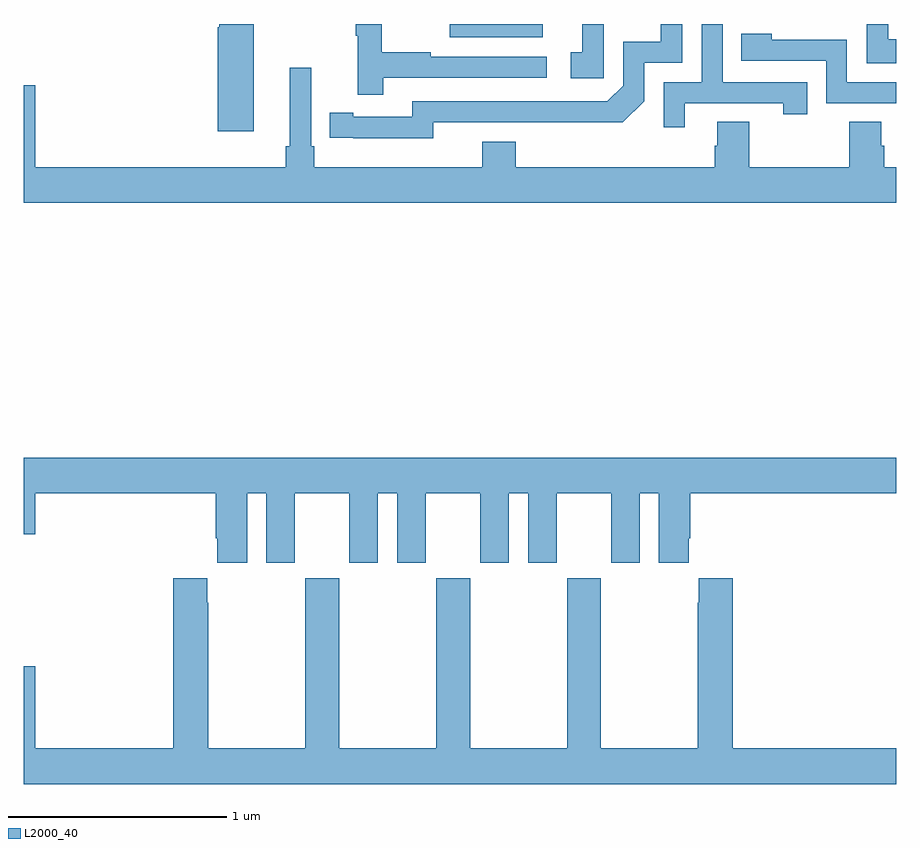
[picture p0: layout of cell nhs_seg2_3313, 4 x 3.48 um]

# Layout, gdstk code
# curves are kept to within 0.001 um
import gdstk
lib = gdstk.Library(unit=1e-6, precision=1e-09)
def R(c, l, rs):  # rectangles x0, y0, x1, y1
    for r in rs: c.add(gdstk.rectangle(r[:2], r[2:], *l))
def P(c, l, *ps):  # polygons
    for p in ps: c.add(gdstk.Polygon(p, *l))
L2000_40 = (2000, 40)

nhs_seg2_3313 = lib.new_cell('nhs_seg2_3313')
R(nhs_seg2_3313, L2000_40, [(286.953,637.739,287.38,637.8)])
P(nhs_seg2_3313, L2000_40, [(286.054,637.8),(285.896,637.8),(285.896,637.785),(285.89,637.785),(285.89,637.308),(286.054,637.308)],
  [(289,637.729),(288.963,637.729),(288.963,637.8),(288.864,637.8),(288.864,637.62),(289,637.62)],
  [(288.031,637.437),(288.482,637.437),(288.482,637.386),(288.593,637.386),(288.593,637.533),(288.204,637.533),(288.204,637.8),(288.108,637.8),(288.108,637.533),(287.934,637.533),(287.934,637.326),(288.031,637.326)],
  [(286.878,637.35),(287.746,637.349),(287.844,637.446),(287.844,637.623),(288.018,637.623),(288.018,637.8),(287.921,637.8),(287.921,637.719),(287.748,637.719),(287.748,637.518),(287.676,637.446),(286.782,637.446),(286.782,637.374),(286.51,637.374),(286.51,637.394),(286.402,637.394),(286.402,637.278),(286.878,637.277)],
  [(286.649,637.554),(287.398,637.554),(287.398,637.65),(286.865,637.65),(286.865,637.67),(286.642,637.67),(286.642,637.8),(286.521,637.8),(286.521,637.747),(286.532,637.747),(286.532,637.476),(286.649,637.476)],
  [(287.658,637.8),(287.561,637.8),(287.561,637.671),(287.508,637.671),(287.508,637.551),(287.658,637.551)],
  [(289,637.533),(288.774,637.533),(288.774,637.728),(288.429,637.728),(288.429,637.755),(288.289,637.755),(288.289,637.632),(288.678,637.632),(288.678,637.437),(289,637.437)],
  [(286.317,637.24),(286.317,637.6),(286.22,637.6),(286.22,637.24),(286.201,637.24),(286.201,637.144),(285.052,637.144),(285.052,637.519),(285,637.519),(285,636.98),(289,636.98),(289,637.144),(288.944,637.144),(288.944,637.242),(288.931,637.242),(288.931,637.352),(288.784,637.352),(288.784,637.144),(288.327,637.144),(288.327,637.352),(288.179,637.352),(288.179,637.242),(288.167,637.242),(288.167,637.144),(287.255,637.144),(287.255,637.261),(287.102,637.261),(287.102,637.144),(286.331,637.144),(286.331,637.24)],
  [(285,635.46),(285.052,635.46),(285.052,635.648),(285.881,635.648),(285.881,635.443),(285.887,635.443),(285.887,635.331),(286.024,635.331),(286.024,635.648),(286.112,635.648),(286.112,635.331),(286.243,635.331),(286.243,635.648),(286.493,635.648),(286.493,635.331),(286.624,635.331),(286.624,635.648),(286.712,635.648),(286.712,635.331),(286.843,635.331),(286.843,635.648),(287.093,635.648),(287.093,635.331),(287.224,635.331),(287.224,635.648),(287.312,635.648),(287.312,635.331),(287.443,635.331),(287.443,635.648),(287.693,635.648),(287.693,635.331),(287.824,635.331),(287.824,635.648),(287.912,635.648),(287.912,635.331),(288.049,635.331),(288.049,635.443),(288.056,635.443),(288.056,635.648),(289,635.648),(289,635.812),(285,635.812)],
  [(289,634.48),(288.251,634.48),(288.251,635.26),(288.095,635.26),(288.095,635.147),(288.091,635.147),(288.091,634.48),(287.646,634.48),(287.646,635.26),(287.491,635.26),(287.491,634.48),(287.046,634.48),(287.046,635.26),(286.891,635.26),(286.891,634.48),(286.446,634.48),(286.446,635.26),(286.291,635.26),(286.291,634.48),(285.846,634.48),(285.846,635.147),(285.841,635.147),(285.841,635.26),(285.686,635.26),(285.686,634.48),(285.052,634.48),(285.052,634.855),(285,634.855),(285,634.316),(289,634.316)])

lib.write_gds('nhs_seg2_3313.gds')
